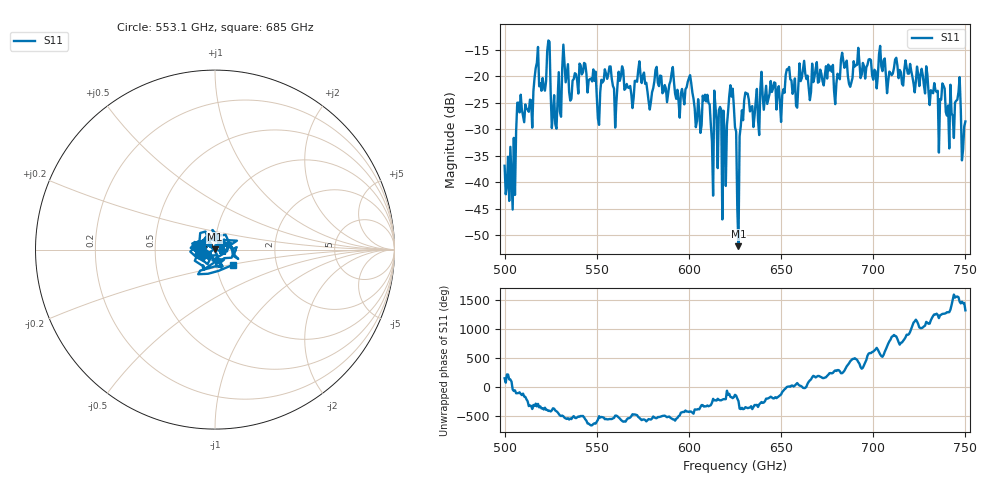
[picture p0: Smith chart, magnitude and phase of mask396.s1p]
!Created with skrf (http://scikit-rf.org).
# GHz S MA R 50.0
!freq magS11 angS11
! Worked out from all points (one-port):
!   401 points, 500 GHz to 750 GHz, reference 50 ohm
!   lowest |S11| = -52.0 dB at 626.9 GHz (marker M1), VSWR 1.01, Z = 49.9 + j0.225 ohm
!   |S11| at or under -10 dB: start of sweep to end of sweep
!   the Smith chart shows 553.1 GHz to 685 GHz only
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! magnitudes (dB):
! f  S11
! 500 GHz  -36.9
! 505 GHz  -31.6
! 507.5 GHz  -25.0
! 513.8 GHz  -24.4
! 516.9 GHz  -18.5
! 521.2 GHz  -22.0
! 523.8 GHz  -13.3
! 526.9 GHz  -23.6
! 531.2 GHz  -18.5
! 542.5 GHz  -19.3
! 551.2 GHz  -29.2
! 562.5 GHz  -20.9
! 593.8 GHz  -22.6
! 610 GHz  -23.5
! 611.9 GHz  -29.1
! 615 GHz  -28.2
! 619.4 GHz  -30.9
! 623.1 GHz  -23.9
! 625 GHz  -29.6
! 626.9 GHz  -52.0
! 631.2 GHz  -23.3
! 656.2 GHz  -23.3
! 683.8 GHz  -17.1
! 687.5 GHz  -22.0
! 718.8 GHz  -19.5
! 742.5 GHz  -27.0
! 745.6 GHz  -24.4
! 750 GHz  -28.5
